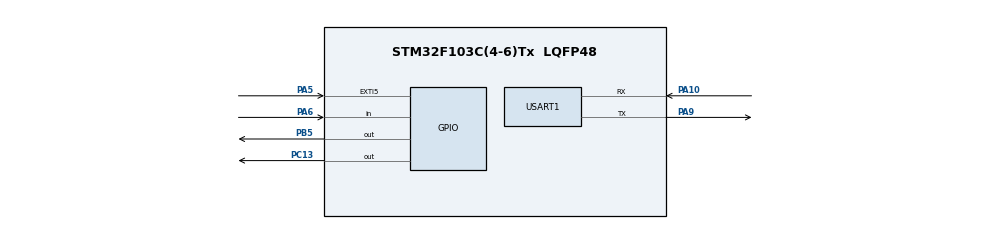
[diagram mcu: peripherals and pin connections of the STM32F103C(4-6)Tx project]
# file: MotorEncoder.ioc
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Mcu.Family=STM32F1
Mcu.Name=STM32F103C(4-6)Tx
Mcu.Package=LQFP48
NVIC.EXTI9_5_IRQn=true\:0\:0\:false\:false\:true\:true\:true\:true
NVIC.PriorityGroup=NVIC_PRIORITYGROUP_4
PA10.Mode=Asynchronous
PA10.Signal=USART1_RX
PA5.GPIO_PuPd=GPIO_PULLDOWN
PA5.Signal=GPXTI5
PA6.GPIO_PuPd=GPIO_PULLDOWN
PA6.Signal=GPIO_Input
PA9.Mode=Asynchronous
PA9.Signal=USART1_TX
PB5.Signal=GPIO_Output
PC13-TAMPER-RTC.Signal=GPIO_Output
ProjectManager.HeapSize=0x200
ProjectManager.StackSize=0x400
ProjectManager.TargetToolchain=STM32CubeIDE
RCC.APB1Freq_Value=8000000
RCC.APB2Freq_Value=8000000
USART1.VirtualMode=VM_ASYNC
board=custom

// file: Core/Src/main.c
/* USER CODE BEGIN Header */
/**
  ******************************************************************************
  * @file           : main.c
  * @brief          : Main program body
  ******************************************************************************
  * @attention
  *
  * Copyright (c) 2024 STMicroelectronics.
  * All rights reserved.
  *
  * This software is licensed under terms that can be found in the LICENSE file
  * in the root directory of this software component.
  * If no LICENSE file comes with this software, it is provided AS-IS.
  *
  ******************************************************************************
  */
/* USER CODE END Header */
#include "main.h"

/* USER CODE BEGIN Includes */
#include <string.h>
#include <stdio.h>
#include <stdlib.h>
/* USER CODE END Includes */

UART_HandleTypeDef huart1;

/* USER CODE BEGIN PV */
volatile int32_t encoder_counter = 0;
/* USER CODE END PV */

void SystemClock_Config(void);
static void MX_GPIO_Init(void);
static void MX_USART1_UART_Init(void);

/* USER CODE BEGIN 0 */
void HAL_GPIO_EXTI_Callback(uint16_t GPIO_Pin)
{
  if(GPIO_Pin == GPIO_PIN_5)
  {
	  if(HAL_GPIO_ReadPin(GPIOA, GPIO_PIN_6))
	  {
		  encoder_counter++;
	  }
	  else
	  {
		  encoder_counter--;
	  }
  }
}
/* USER CODE END 0 */

int main(void)
{

  /* MCU Configuration--------------------------------------------------------*/

  /* Reset of all peripherals, Initializes the Flash interface and the Systick. */
  HAL_Init();

  /* Configure the system clock */
  SystemClock_Config();

  /* Initialize all configured peripherals */
  MX_GPIO_Init();
  MX_USART1_UART_Init();
  /* USER CODE BEGIN 2 */
  uint8_t msg[32];
  /* USER CODE END 2 */

  /* Infinite loop */
  /* USER CODE BEGIN WHILE */
  while (1)
  {
	  HAL_GPIO_TogglePin(GPIOC, GPIO_PIN_13);
	  sprintf((char*)msg, "Deg: %ld\n", encoder_counter);
	  HAL_UART_Transmit(&huart1, msg, strlen((char*)msg), HAL_MAX_DELAY);
	  HAL_Delay(200);
    /* USER CODE END WHILE */

  }
}

void SystemClock_Config(void)
{
  RCC_OscInitTypeDef RCC_OscInitStruct = {0};
  RCC_ClkInitTypeDef RCC_ClkInitStruct = {0};

  /** Initializes the RCC Oscillators according to the specified parameters
  * in the RCC_OscInitTypeDef structure.
  */
  RCC_OscInitStruct.OscillatorType = RCC_OSCILLATORTYPE_HSI;
  RCC_OscInitStruct.HSIState = RCC_HSI_ON;
  RCC_OscInitStruct.HSICalibrationValue = RCC_HSICALIBRATION_DEFAULT;
  RCC_OscInitStruct.PLL.PLLState = RCC_PLL_NONE;
  if (HAL_RCC_OscConfig(&RCC_OscInitStruct) != HAL_OK)
  {
    Error_Handler();
  }

  /** Initializes the CPU, AHB and APB buses clocks
  */
  RCC_ClkInitStruct.ClockType = RCC_CLOCKTYPE_HCLK|RCC_CLOCKTYPE_SYSCLK
                              |RCC_CLOCKTYPE_PCLK1|RCC_CLOCKTYPE_PCLK2;
  RCC_ClkInitStruct.SYSCLKSource = RCC_SYSCLKSOURCE_HSI;
  RCC_ClkInitStruct.AHBCLKDivider = RCC_SYSCLK_DIV1;
  RCC_ClkInitStruct.APB1CLKDivider = RCC_HCLK_DIV1;
  RCC_ClkInitStruct.APB2CLKDivider = RCC_HCLK_DIV1;

  if (HAL_RCC_ClockConfig(&RCC_ClkInitStruct, FLASH_LATENCY_0) != HAL_OK)
  {
    Error_Handler();
  }
}

static void MX_USART1_UART_Init(void)
{

  huart1.Instance = USART1;
  huart1.Init.BaudRate = 115200;
  huart1.Init.WordLength = UART_WORDLENGTH_8B;
  huart1.Init.StopBits = UART_STOPBITS_1;
  huart1.Init.Parity = UART_PARITY_NONE;
  huart1.Init.Mode = UART_MODE_TX_RX;
  huart1.Init.HwFlowCtl = UART_HWCONTROL_NONE;
  huart1.Init.OverSampling = UART_OVERSAMPLING_16;
  if (HAL_UART_Init(&huart1) != HAL_OK)
  {
    Error_Handler();
  }

}

static void MX_GPIO_Init(void)
{
  GPIO_InitTypeDef GPIO_InitStruct = {0};

  /* GPIO Ports Clock Enable */
  __HAL_RCC_GPIOC_CLK_ENABLE();
  __HAL_RCC_GPIOA_CLK_ENABLE();
  __HAL_RCC_GPIOB_CLK_ENABLE();

  /*Configure GPIO pin Output Level */
  HAL_GPIO_WritePin(GPIOC, GPIO_PIN_13, GPIO_PIN_RESET);

  /*Configure GPIO pin Output Level */
  HAL_GPIO_WritePin(GPIOB, GPIO_PIN_5, GPIO_PIN_RESET);

  /*Configure GPIO pin : PC13 */
  GPIO_InitStruct.Pin = GPIO_PIN_13;
  GPIO_InitStruct.Mode = GPIO_MODE_OUTPUT_PP;
  GPIO_InitStruct.Pull = GPIO_NOPULL;
  GPIO_InitStruct.Speed = GPIO_SPEED_FREQ_LOW;
  HAL_GPIO_Init(GPIOC, &GPIO_InitStruct);

  /*Configure GPIO pin : PA5 */
  GPIO_InitStruct.Pin = GPIO_PIN_5;
  GPIO_InitStruct.Mode = GPIO_MODE_IT_RISING;
  GPIO_InitStruct.Pull = GPIO_PULLDOWN;
  HAL_GPIO_Init(GPIOA, &GPIO_InitStruct);

  /*Configure GPIO pin : PA6 */
  GPIO_InitStruct.Pin = GPIO_PIN_6;
  GPIO_InitStruct.Mode = GPIO_MODE_INPUT;
  GPIO_InitStruct.Pull = GPIO_PULLDOWN;
  HAL_GPIO_Init(GPIOA, &GPIO_InitStruct);

  /*Configure GPIO pin : PB5 */
  GPIO_InitStruct.Pin = GPIO_PIN_5;
  GPIO_InitStruct.Mode = GPIO_MODE_OUTPUT_PP;
  GPIO_InitStruct.Pull = GPIO_NOPULL;
  GPIO_InitStruct.Speed = GPIO_SPEED_FREQ_LOW;
  HAL_GPIO_Init(GPIOB, &GPIO_InitStruct);

  /* EXTI interrupt init*/
  HAL_NVIC_SetPriority(EXTI9_5_IRQn, 0, 0);
  HAL_NVIC_EnableIRQ(EXTI9_5_IRQn);

}

void Error_Handler(void)
{
  __disable_irq();
  while (1)
  {
  }
}
